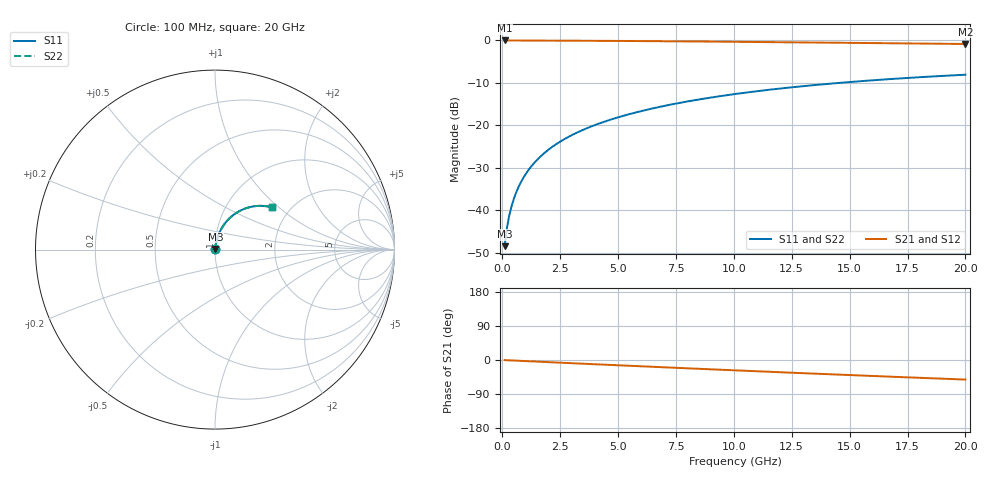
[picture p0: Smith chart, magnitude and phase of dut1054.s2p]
! Touchstone file exported from HFSS 2026.1.0
!  File:  C:/ffzhzh/LocalFiles/Ansys_Project_Files/temp_train_TMRDL_1054_1783160428_43440.aedt
!  Generated:  06:21:55 PM Jul  4, 2026
!  Design:  TMRDL
!  Project:  temp_train_TMRDL_1054_1783160428_43440
! Variables:
!  h_bsmrdl = 2um
!  h_ox = 20um
!  h_rdl = 5um
!  h_sub = 80um
!  h_tmrdl = 5.9um
!  h_tsv = 80um
!  h_via = 3um
!  l_bsmrdl = 300um
!  l_sub = 1226.77um
!  l_tmrdl = 826.77um
!  m_sub = 200um
!  pitch = 45.34um
!  r_tsv = 6um
!  s_tmrdl = 10um
!  w_bsmrdl = 18um
!  w_sub = 500um
!  w_tmrdl = 21.51um
!  x_tsv_center1 = 837.525um
!  x_tsv_center2 = 1155.525um
!  x_tsv_center3 = 2003.805um
!  x_tsv_center4 = 2321.805um
!  x_tsv_center5 = 3170.085um
!  x_tsv_center6 = 3488.085um
# GHz S MA R 50.000000
! Terminal data exported
! Port[1] = TM_RDL1_1_T1
! Port[2] = TM_RDL1_1_T2
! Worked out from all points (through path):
!   200 points, 100 MHz to 20 GHz, reference 50 ohm
!   highest |S21| = -0.02 dB at 100 MHz (marker M1); lowest = -0.9 dB at 20 GHz (marker M2)
!   group delay of S21, straight-line fit = 7.16 ps
!   lowest |S11| = -48.4 dB at 100 MHz (marker M3), VSWR 1.01, Z = 50.2 + j0.286 ohm
!   |S11| at or under -10 dB: start of sweep to 14.57 GHz
!   |S22| runs from -48.4 to -8.1 dB; largest |S21 - S12| = 1e-14
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0.1  0.003782 48.7  0.9975 -0.3  0.9975 -0.3  0.003782 48.7
! Gamma 0 0 0 0
! Port Impedance 50 0 50 0
0.2  0.006175 63.8  0.9973 -0.6  0.9973 -0.6  0.006175 63.8
0.3  0.00866 70.1  0.9972 -0.9  0.9972 -0.9  0.00866 70.1
0.4  0.01116 73.6  0.997 -1.2  0.997 -1.2  0.01116 73.6
0.5  0.01368 75.8  0.9969 -1.4  0.9969 -1.4  0.01368 75.8
0.7  0.01876 78.2  0.9967 -2.0  0.9967 -2.0  0.01876 78.2
0.8  0.02131 79.0  0.9966 -2.3  0.9966 -2.3  0.02131 79.0
1  0.02642 79.8  0.9963 -2.9  0.9963 -2.9  0.02642 79.8
1.2  0.03154 80.1  0.996 -3.4  0.996 -3.4  0.03154 80.1
1.4  0.03664 80.2  0.9957 -4.0  0.9957 -4.0  0.03664 80.2
1.7  0.04426 80.0  0.9951 -4.8  0.9951 -4.8  0.04426 80.0
2  0.05183 79.6  0.9944 -5.7  0.9944 -5.7  0.05183 79.6
2.7  0.06926 78.2  0.9926 -7.6  0.9926 -7.6  0.06926 78.2
3.5  0.08875 76.4  0.9902 -9.9  0.9902 -9.9  0.08875 76.3
4.2  0.1055 74.7  0.9879 -11.8  0.9879 -11.8  0.1055 74.7
5  0.1242 72.7  0.985 -14.0  0.985 -14.0  0.1242 72.7
6.8  0.1649 68.2  0.9777 -18.8  0.9777 -18.8  0.1649 68.2
8.3  0.1974 64.5  0.9709 -22.8  0.9709 -22.8  0.1974 64.5
10.1  0.2345 60.1  0.9619 -27.5  0.9619 -27.5  0.2345 60.1
13.4  0.2963 52.0  0.9439 -35.8  0.9439 -35.8  0.2963 52.0
16.7  0.3496 44.2  0.925 -43.9  0.925 -43.9  0.3496 44.2
20  0.3942 36.7  0.9067 -51.6  0.9067 -51.6  0.3941 36.7
